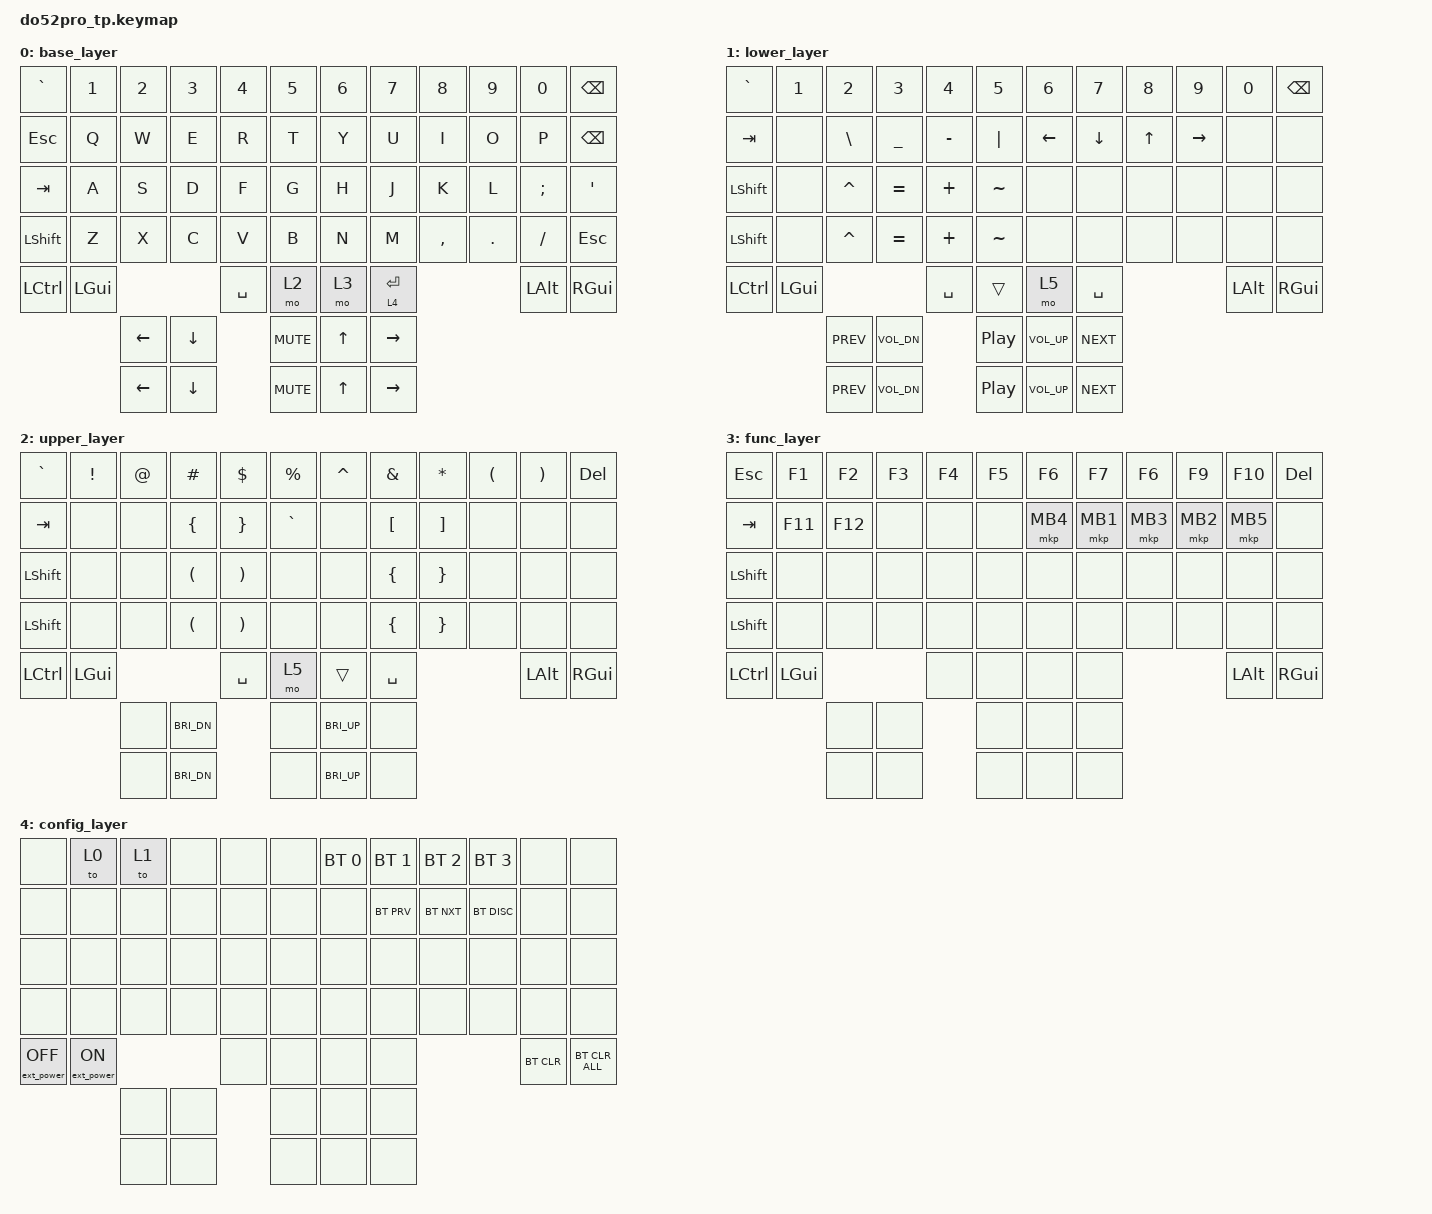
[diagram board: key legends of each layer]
#include <behaviors.dtsi>
#include <dt-bindings/zmk/keys.h>
#include <dt-bindings/zmk/mouse.h>
#include <dt-bindings/zmk/bt.h>
#include <dt-bindings/zmk/ext_power.h>
#include <zephyr/dt-bindings/input/input-event-codes.h>

//#define BASE 0
//#define LOWER 1
//#define UPPER 2
//#define MOUSE_KEYS 3
//#define MOUSE_TP 4
///#define MOUSE_TP_SET 5
/*
 * Defines to enable/disable features
 *
 * These defines allow us to conditionally enable and disable parts of the keymap config.
 *
 * For example, if we decide to build the firmware without the mouse features, we can
 * disable all the config options that rely on those forks and modules without having
 * to edit the entire keymap file manually every time.
 *define HAS_MOUSE_KEYS
 *define HAS_MOUSE_TP
 */



#ifdef HAS_MOUSE_KEYS
  #include <dt-bindings/zmk/mouse.h>
  #include <behaviors/mouse_keys.dtsi>
#endif  // HAS_MOUSE_KEYS
#ifdef HAS_MOUSE_TP
  // We store the trackpoint settings in a separate file
  // to make organization a little easier.
  #include "include/mouse_tp.dtsi"
#endif  // HAS_MOUSE_TP
// Adjust layer keys based on enabled features.
//
// This prevents build errors when we build the firmware
// without the mouse keys PR or the TP module.
#ifdef HAS_MOUSE_KEYS
  #define U_THUMB_INNER &mo MOUSE_KEYS
#else
  #define U_THUMB_INNER &none
#endif  // HAS_MOUSE_KEYS
#ifdef HAS_MOUSE_TP
  #define U_TOG_TP_SET &tog MOUSE_TP_SET
#else
  #define U_TOG_TP_SET &none
#endif  // HAS_MOUSE_TP

// Adjust layer keys based on enabled features.
//
// This prevents build errors when we build the firmware
// without the mouse keys PR or the TP module.
#ifdef HAS_MOUSE_KEYS
  #define U_THUMB_INNER &mo MOUSE_KEYS
#else
  #define U_THUMB_INNER &none
#endif  // HAS_MOUSE_KEYS
#ifdef HAS_MOUSE_TP
  #define U_TOG_TP_SET &tog MOUSE_TP_SET
#else
  #define U_TOG_TP_SET &none
#endif  // HAS_MOUSE_TP


&lt {
    tapping-term-ms = <120>;
};

/ {
        keymap {
                compatible = "zmk,keymap";
                
                base_layer {
                        bindings = <
   &kp GRAVE &kp N1   &kp N2    &kp N3    &kp N4    &kp N5        &kp N6   &kp N7    &kp N8  &kp N9    &kp N0   &kp BSPC
   &kp ESC   &kp Q    &kp W &kp E  &kp R     &kp T       &kp Y    &kp U &kp I     &kp O   &kp P    &kp BSPC
   &kp TAB   &kp A    &kp S &kp D  &kp F     &kp G       &kp H    &kp J &kp K     &kp L   &kp SEMI &kp SQT
   &kp LSHFT &kp Z    &kp X &kp C  &kp V     &kp B       &kp N    &kp M &kp COMMA &kp DOT &kp FSLH &kp ESC
   &kp LCTRL &kp LGUI              &kp SPACE &mo 2       &mo 3    &lt 4 RET               &kp LALT &kp RGUI
                                    // DPAD Left, Down, Middle, Up, Right
                        &kp LEFT  &kp DOWN  &kp C_MUTE   &kp UP &kp RIGHT
                        &kp LEFT  &kp DOWN  &kp C_MUTE   &kp UP &kp RIGHT
                        >;
                };
                lower_layer {
                        bindings = <
   &kp GRAVE &kp N1   &kp N2    &kp N3    &kp N4    &kp N5        &kp N6   &kp N7    &kp N8  &kp N9    &kp N0   &kp BSPC
   &kp TAB   &none    &kp BSLH  &kp UNDER &kp MINUS &kp PIPE      &kp LEFT &kp DOWN  &kp UP  &kp RIGHT &none    &none
   &kp LSHFT &none    &kp CARET &kp EQUAL &kp PLUS  &kp TILDE     &none    &none     &none   &none     &none    &none
   &kp LSHFT &none    &kp CARET &kp EQUAL &kp PLUS  &kp TILDE     &none    &none     &none   &none     &none    &none
   &kp LCTRL &kp LGUI                     &kp SPACE &trans        &mo 5    &kp SPACE                   &kp LALT &kp RGUI
                                    // DPAD Left, Down, Middle, Up, Right
                        &kp C_PREV &kp C_VOL_DN  &kp C_PP &kp C_VOL_UP &kp C_NEXT
                        &kp C_PREV &kp C_VOL_DN  &kp C_PP &kp C_VOL_UP &kp C_NEXT
                        >;
                };
                upper_layer {
                        bindings = <
   &kp GRAVE &kp EXCL &kp AT &kp HASH &kp DLLR  &kp PRCNT        &kp CARET &kp AMPS  &kp ASTRK &kp LPAR &kp RPAR &kp DEL
   &kp TAB   &none    &none  &kp LBRC &kp RBRC  &kp GRAVE        &none     &kp LBKT  &kp RBKT  &none    &none    &none
   &kp LSHFT &none    &none  &kp LPAR &kp RPAR  &none            &none     &kp LBRC  &kp RBRC  &none    &none    &none
   &kp LSHFT &none    &none  &kp LPAR &kp RPAR  &none            &none     &kp LBRC  &kp RBRC  &none    &none    &none
   &kp LCTRL &kp LGUI                 &kp SPACE &mo 5            &trans    &kp SPACE                    &kp LALT &kp RGUI
                                    // DPAD Left, Down, Middle, Up, Right
                                    &none &kp C_BRI_DN  &none &kp C_BRI_UP &none
                                    &none &kp C_BRI_DN  &none &kp C_BRI_UP &none
                        >;
                };
                func_layer {
                        bindings = <
   &kp ESC   &kp F1   &kp F2  &kp F3 &kp F4 &kp F5      &kp F6   &kp F7   &kp F6   &kp F9   &kp F10  &kp DEL
   &kp TAB   &kp F11  &kp F12 &none  &none  &none       &mkp MB4 &mkp MB1 &mkp MB3 &mkp MB2 &mkp MB5 &none
   &kp LSHFT &none    &none   &none  &none  &none       &none    &none    &none    &none    &none    &none
   &kp LSHFT &none    &none   &none  &none  &none       &none    &none    &none    &none    &none    &none
   &kp LCTRL &kp LGUI                &none  &none       &none    &none                      &kp LALT &kp RGUI
                                    // DPAD Left, Down, Middle, Up, Right
                                    // DPAD Left, Down, Middle, Up, Right
                                      &none &none &none &none &none
                                      &none &none &none &none &none
                        >;
                };
                config_layer {
                        bindings = <
   &none        &to 0       &to 1 &none &none &none           &bt BT_SEL 0 &bt BT_SEL 1 &bt BT_SEL 2 &bt BT_SEL 3 &none &none
   &none        &none       &none &none &none &none           &none        &bt BT_PRV   &bt BT_NXT   &bt BT_DISC  &none &none
   &none        &none       &none &none &none &none           &none        &none        &none        &none        &none &none
   &none        &none       &none &none &none &none           &none        &none        &none        &none        &none &none
   &ext_power EP_OFF &ext_power EP_ON   &none &none           &none        &none                  &bt BT_CLR   &bt BT_CLR_ALL
                                    // DPAD Left, Down, Middle, Up, Right
                                    // DPAD Left, Down, Middle, Up, Right
                                      &none &none &none &none &none
                                      &none &none &none &none &none
                        >;
                };
        };
};
